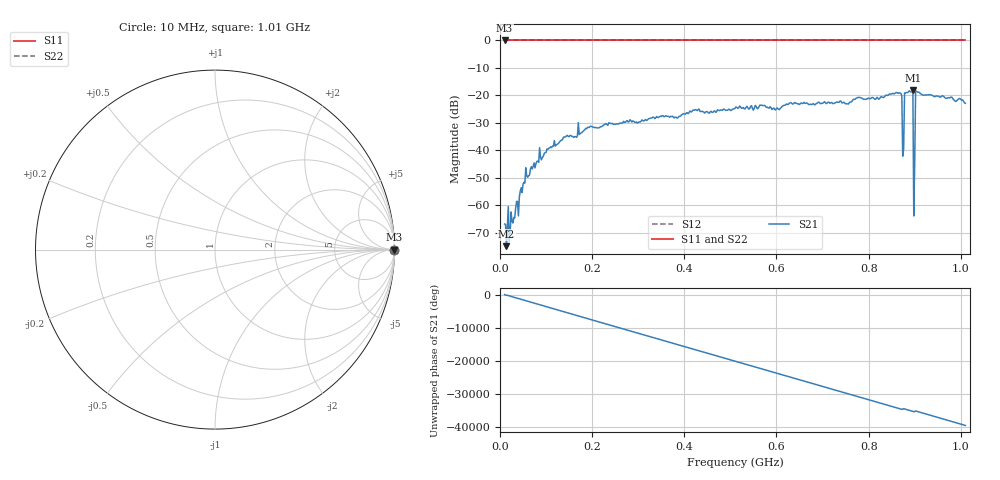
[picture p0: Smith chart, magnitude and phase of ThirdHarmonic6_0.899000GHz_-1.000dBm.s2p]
! 8/16/2025 5:30:13 AM
! C:\ANRITSUVNA\TEMP\TEMP.S2P
! CHANNEL.1
! TR.MEASUREMENT
! RAW.DATA
! RF.CORRECTION.OFF
! AVERAGING.OFF
! IF.BANDWIDTH: 5KHZ
! SWEEPTYPE:  FREQ.SWEEP(Linear)
! Reference Plane Port Info
! PORT:  PORT1  PORT2
! DISTANCE:  0  m  0  m
! TIME:  0  s  0  s
! PHASE.OFFSET:  0  deg.  0  deg.
! LOSS:  0  dB  0  dB
! REF.LOSS:  0  dB  0  dB
! REF.FREQ:  0  Hz  0  Hz
! Power Info
! POWER:  -20  dBm  -20  dBm
! EFF.POWER:  -20  dBm  -20  dBm
! SOURCE.ATTEN:  0  dB  0  dB
! TEST.ATTEN:  0  dB  0  dB
# GHZ S RI R 50.0
! FREQ.GHZ  S11RE  S11IM  S21RE  S21IM  S12RE  S12IM  S22RE  S22IM
!; PortSelection: Port_12
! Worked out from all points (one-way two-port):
!   501 points, 10 MHz to 1.01 GHz, reference 50 ohm
!   highest |S21| = -18.03 dB at 896 MHz (marker M1); lowest = -74.8 dB at 14 MHz (marker M2)
!   lowest |S11| = 0.0 dB at 10 MHz (marker M3)
!   |S11| at or under -10 dB: nowhere
!   |S22| runs from 0.0 to 0.0 dB; largest |S21 - S12| = 1.1
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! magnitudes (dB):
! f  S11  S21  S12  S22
! 10 MHz  0.0  -66.8  0.0  0.0
! 14 MHz  0.0  -74.8  0.0  0.0
! 24 MHz  0.0  -62.4  0.0  0.0
! 54 MHz  0.0  -51.9  0.0  0.0
! 84 MHz  0.0  -44.4  0.0  0.0
! 142 MHz  0.0  -35.1  0.0  0.0
! 178 MHz  0.0  -33.5  0.0  0.0
! 344 MHz  0.0  -28.0  0.0  0.0
! 510 MHz  0.0  -24.7  0.0  0.0
! 678 MHz  0.0  -23.2  0.0  0.0
! 844 MHz  0.0  -19.6  0.0  0.0
! 868 MHz  0.0  -19.1  0.0  0.0
! 872 MHz  0.0  -20.1  0.0  0.0
! 876 MHz  0.0  -39.5  0.0  0.0
! 878 MHz  0.0  -19.1  0.0  0.0
! 882 MHz  0.0  -18.9  0.0  0.0
! 892 MHz  0.0  -18.8  0.0  0.0
! 894 MHz  0.0  -18.4  0.0  0.0
! 896 MHz  0.0  -18.0  0.0  0.0
! 902 MHz  0.0  -18.5  0.0  0.0
! 906 MHz  0.0  -18.8  0.0  0.0
! 1.01 GHz  0.0  -22.9  0.0  0.0
